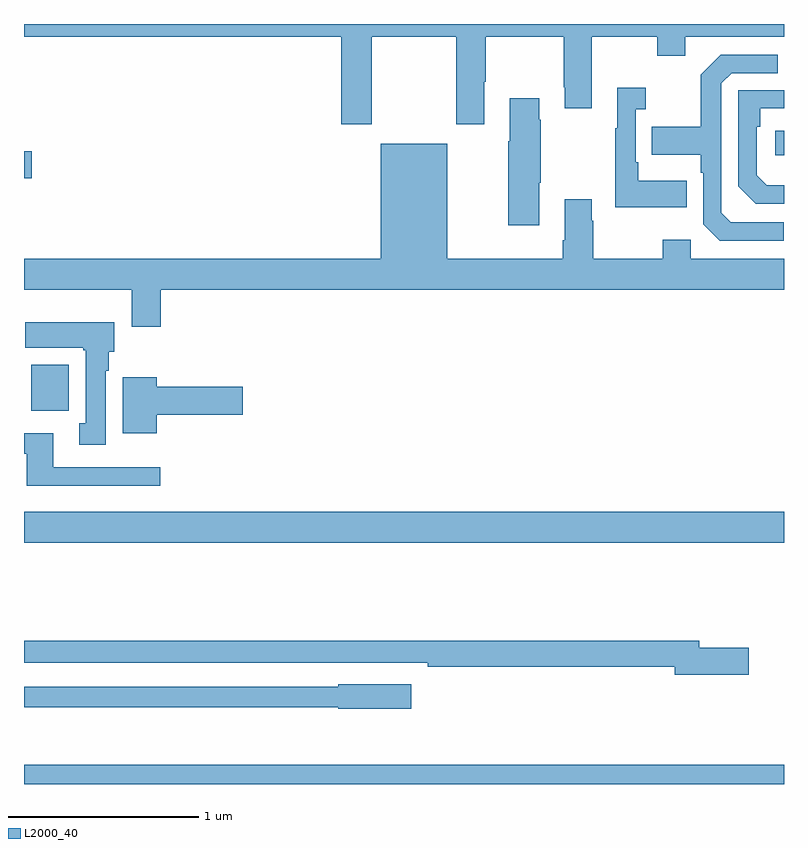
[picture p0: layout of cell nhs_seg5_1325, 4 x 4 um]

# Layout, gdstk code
import gdstk
lib = gdstk.Library(unit=1e-6, precision=1e-09)
def R(c, l, rs):  # rectangles x0, y0, x1, y1
    for r in rs: c.add(gdstk.rectangle(r[:2], r[2:], *l))
def P(c, l, *ps):  # polygons
    for p in ps: c.add(gdstk.Polygon(p, *l))
L2000_40 = (2000, 40)

nhs_seg5_1325 = lib.new_cell('nhs_seg5_1325')
R(nhs_seg5_1325, L2000_40, [(191,880.799,195,880.9), (191,882.068,195,882.232), (191.039,882.764,191.236,883.006), (191,883.987,191.041,884.129), (194.955,884.108,195,884.238)])
P(nhs_seg5_1325, L2000_40, [(192.831,884.732),(193.276,884.732),(193.276,884.271),(193.423,884.271),(193.423,884.494),(193.431,884.494),(193.431,884.732),(193.84,884.732),(193.84,884.467),(193.847,884.467),(193.847,884.355),(193.987,884.355),(193.987,884.732),(194.332,884.732),(194.332,884.633),(194.479,884.633),(194.479,884.732),(195,884.732),(195,884.799),(191,884.799),(191,884.732),(192.671,884.732),(192.671,884.271),(192.831,884.271)],
  [(194.998,883.755),(194.721,883.755),(194.67,883.806),(194.67,884.487),(194.724,884.541),(194.968,884.541),(194.968,884.637),(194.667,884.637),(194.562,884.531),(194.562,884.259),(194.305,884.259),(194.305,884.111),(194.562,884.111),(194.562,884.015),(194.574,884.015),(194.574,883.746),(194.661,883.659),(194.998,883.659)],
  [(194.489,883.975),(194.233,883.975),(194.233,884.071),(194.22,884.071),(194.22,884.351),(194.272,884.351),(194.272,884.464),(194.123,884.464),(194.123,884.251),(194.112,884.251),(194.112,883.835),(194.489,883.835)],
  [(195,883.951),(194.909,883.951),(194.856,884.004),(194.856,884.258),(194.876,884.258),(194.876,884.355),(195,884.355),(195,884.451),(194.76,884.451),(194.76,883.944),(194.85,883.854),(195,883.854)],
  [(193.711,883.963),(193.719,883.963),(193.719,884.294),(193.711,884.294),(193.711,884.407),(193.556,884.407),(193.556,884.183),(193.549,884.183),(193.549,883.74),(193.711,883.74)],
  [(191.72,883.4),(195,883.4),(195,883.564),(194.508,883.564),(194.508,883.663),(194.362,883.663),(194.362,883.564),(193.995,883.564),(193.995,883.763),(193.987,883.763),(193.987,883.876),(193.847,883.876),(193.847,883.66),(193.835,883.66),(193.835,883.564),(193.228,883.564),(193.228,884.17),(192.878,884.17),(192.878,883.564),(191,883.564),(191,883.4),(191.567,883.4),(191.567,883.206),(191.72,883.206)],
  [(191.431,882.974),(191.446,882.974),(191.446,883.074),(191.476,883.074),(191.476,883.228),(191.007,883.228),(191.007,883.094),(191.311,883.094),(191.311,883.081),(191.324,883.081),(191.324,882.698),(191.291,882.698),(191.291,882.585),(191.431,882.585)],
  [(191.698,882.743),(192.151,882.743),(192.151,882.89),(191.698,882.89),(191.698,882.94),(191.519,882.94),(191.519,882.644),(191.698,882.644)],
  [(191.716,882.465),(191.155,882.465),(191.155,882.646),(191,882.646),(191,882.537),(191.015,882.537),(191.015,882.368),(191.716,882.368)],
  [(194.815,881.516),(194.554,881.516),(194.554,881.552),(191,881.552),(191,881.436),(193.126,881.436),(193.126,881.416),(194.426,881.416),(194.426,881.374),(194.815,881.374)],
  [(193.039,881.323),(192.654,881.323),(192.654,881.31),(191,881.31),(191,881.202),(192.654,881.202),(192.654,881.194),(193.039,881.194)])

lib.write_gds('nhs_seg5_1325.gds')
